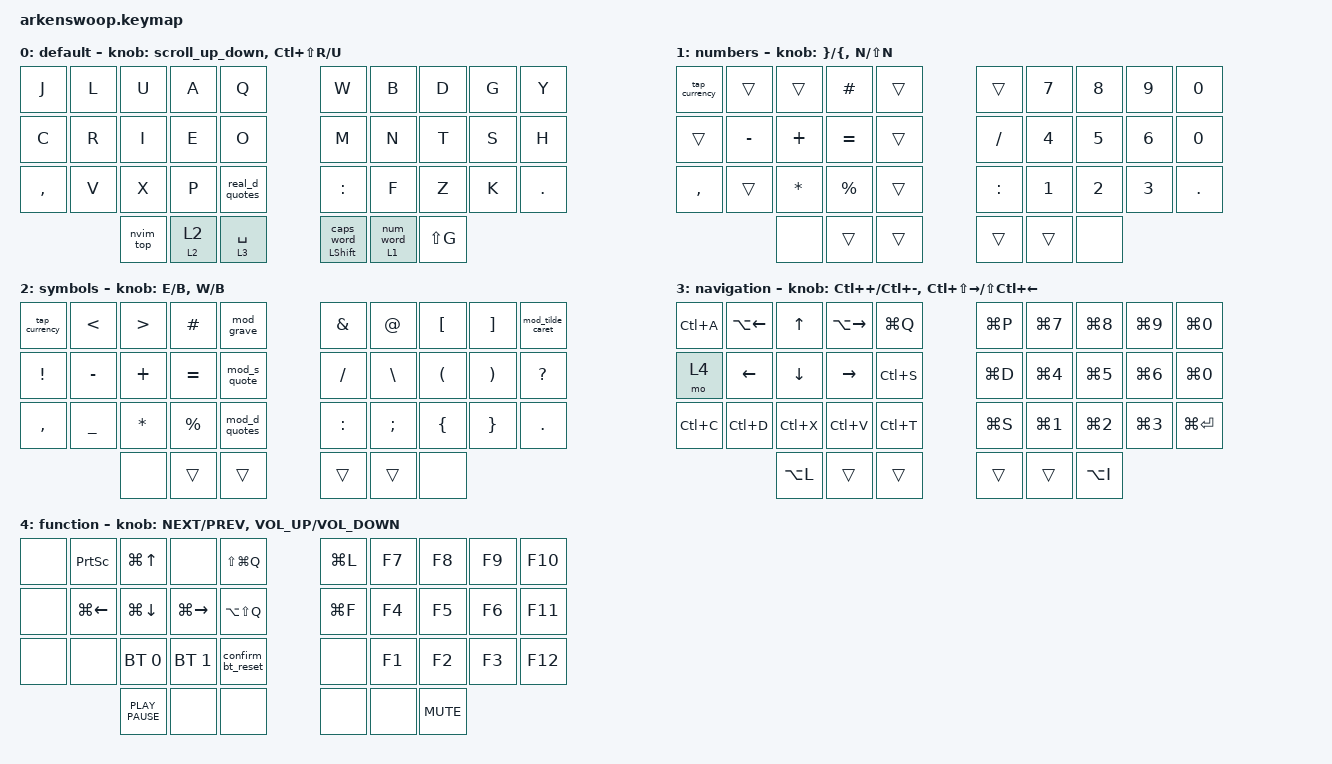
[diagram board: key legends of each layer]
/*
 * Copyright (c) 2020 The ZMK Contributors
 *
 * SPDX-License-Identifier: MIT
 */

#define ZMK_POINTING_DEFAULT_SCRL_VAL 100

#include <behaviors.dtsi>
#include <dt-bindings/zmk/bt.h>
#include <dt-bindings/zmk/keys.h>
#include <dt-bindings/zmk/pointing.h>

&msc {
    time-to-max-speed-ms = <50>;
    acceleration-exponent = <2>;
};

/ {
    behaviors {
        scroll_up_down: encoder_scroll {
            compatible = "zmk,behavior-sensor-rotate";
            #sensor-binding-cells = <0>;
            tap-ms = <70>;
            bindings = <&msc SCRL_DOWN>, <&msc SCRL_UP>;
        };

        num_word: behavior_num_word {
            compatible = "zmk,behavior-caps-word";
            #binding-cells = <0>;
            continue-list = <TAB BACKSPACE DELETE DOT COMMA LPAR RPAR STAR PLUS MINUS SLASH COLON COMMA PERIOD POUND PERCENT>;
        };

        num_activate: num_activate {
            compatible = "zmk,behavior-hold-tap";
            bindings = <&mo>, <&num_word>;

            #binding-cells = <2>;
            tapping-term-ms = <200>;
            require-prior-idle-ms = <125>;
        };

        tap_currency: tap_currency {
            compatible = "zmk,behavior-tap-dance";
            #binding-cells = <0>;
            bindings = <&kp DOLLAR>, <&kp RA(NUMBER_5)>;
        };

        confirm_bt_reset: confirm_bt_reset {
            compatible = "zmk,behavior-tap-dance";
            #binding-cells = <0>;
            bindings = <&none>, <&none>, <&none>, <&none>, <&bt BT_CLR_ALL>;
        };

        mod_d_quotes: mod_d_quotes {
            compatible = "zmk,behavior-mod-morph";
            bindings = <&real_d_quotes>, <&kp DOUBLE_QUOTES>;

            #binding-cells = <0>;
            mods = <(MOD_LALT)>;
        };

        mod_s_quote: mod_s_quote {
            compatible = "zmk,behavior-mod-morph";
            bindings = <&real_s_quote>, <&kp SINGLE_QUOTE>;

            #binding-cells = <0>;
            mods = <(MOD_LALT)>;
        };

        mod_grave: mod_grave {
            compatible = "zmk,behavior-mod-morph";
            bindings = <&real_grave>, <&kp GRAVE>;

            #binding-cells = <0>;
            mods = <(MOD_LALT)>;
        };

        mod_caret: mod_caret {
            compatible = "zmk,behavior-mod-morph";
            bindings = <&real_caret>, <&kp CARET>;

            #binding-cells = <0>;
            mods = <(MOD_LALT)>;
        };

        mod_tilde: mod_tilde {
            compatible = "zmk,behavior-mod-morph";
            bindings = <&real_tilde>, <&kp TILDE>;

            #binding-cells = <0>;
            mods = <(MOD_LALT)>;
        };

        nav_activate: nav_activate {
            compatible = "zmk,behavior-hold-tap";
            bindings = <&mo>, <&kp>;

            #binding-cells = <2>;
            tapping-term-ms = <200>;
        };

        shift_activate: shift_activate {
            compatible = "zmk,behavior-hold-tap";
            bindings = <&kp>, <&caps_word>;

            #binding-cells = <2>;
            tapping-term-ms = <200>;
        };

        symbol_activate: symbol_activate {
            compatible = "zmk,behavior-hold-tap";
            bindings = <&mo>, <&sl>;

            #binding-cells = <2>;
            tapping-term-ms = <200>;
        };

        mod_tilde_caret: mod_tilde_caret {
            compatible = "zmk,behavior-mod-morph";
            bindings = <&mod_tilde>, <&mod_caret>;

            #binding-cells = <0>;
            mods = <(MOD_LSFT)>;
        };
    };

    combos {
        compatible = "zmk,combos";

        combo_a {
            bindings = <&umlaut_a>;
            key-positions = <13 3>;
            layers = <0>;
        };

        combo_o {
            bindings = <&umlaut_o>;
            key-positions = <13 14>;
            layers = <0>;
        };

        combo_u {
            bindings = <&umlaut_u>;
            key-positions = <13 2>;
            layers = <0>;
        };

        combo_s {
            bindings = <&umlaut_s>;
            key-positions = <13 18>;
            layers = <0>;
        };

        combo_ctrl_left {
            bindings = <&kp LCTRL>;
            key-positions = <13 23>;
            layers = <0 1 2 4 3>;
        };

        combo_ctrl_right {
            bindings = <&kp LCTRL>;
            key-positions = <16 26>;
            layers = <0 1 2 4 3>;
        };

        combo_alt_left {
            bindings = <&kp LALT>;
            key-positions = <12 22>;
            layers = <0 1 2 4 3>;
        };

        combo_alt_right {
            bindings = <&kp LALT>;
            key-positions = <17 27>;
            layers = <0 1 2 4 3>;
        };

        combo_meta_left {
            bindings = <&kp LMETA>;
            key-positions = <11 21>;
            layers = <0 1 2 4 3>;
        };

        combo_meta_right {
            bindings = <&kp LMETA>;
            key-positions = <18 28>;
            layers = <0 1 2 4 3>;
        };

        combo_enter {
            bindings = <&kp ENTER>;
            key-positions = <6 7 8>;
            timeout-ms = <85>;
            layers = <0 1 2 3 4>;
        };

        combo_tab {
            bindings = <&kp TAB>;
            key-positions = <1 2 3>;
            layers = <0 1 2 4>;
            timeout-ms = <85>;
        };

        combo_escape {
            bindings = <&kp ESCAPE>;
            key-positions = <0 1>;
            timeout-ms = <85>;
            layers = <0 1 2 3 4>;
        };

        combo_backspace {
            bindings = <&kp BACKSPACE>;
            key-positions = <16 17 18>;
            timeout-ms = <150>;
            layers = <0 1 2 4 3>;
        };

        combo_delete {
            bindings = <&kp DELETE>;
            key-positions = <21 22 23>;
            timeout-ms = <150>;
            layers = <0 1 2 4 3>;
        };

        combo_questionmark {
            bindings = <&kp QUESTION>;
            key-positions = <19 9>;
            layers = <0>;
        };

        combo_exclamationmark {
            bindings = <&kp EXCLAMATION>;
            key-positions = <0 10>;
            layers = <0>;
        };

        combo_colon {
            bindings = <&kp SLASH>;
            key-positions = <5 15>;
            layers = <0>;
        };

        combo_s_quote {
            bindings = <&real_s_quote>;
            key-positions = <14 24>;
            layers = <0>;
        };

        combo_paren_left {
            bindings = <&kp LEFT_PARENTHESIS>;
            key-positions = <20 21 22>;
            layers = <0 1 2>;
            timeout-ms = <85>;
        };

        combo_paren_right {
            bindings = <&kp RIGHT_PARENTHESIS>;
            key-positions = <27 28 29>;
            layers = <0 1 2>;
            timeout-ms = <85>;
        };

        combo_pipe {
            bindings = <&kp PIPE>;
            key-positions = <15 16>;
            layers = <2>;
        };

        combo_shift_tab {
            bindings = <&kp LS(TAB)>;
            key-positions = <1 2 3>;
            timeout-ms = <85>;
            layers = <3>;
        };

        combo_questionmark_bottom {
            bindings = <&kp QUESTION>;
            key-positions = <19 29>;
            layers = <0>;
        };

        combo_exclamationmark_bottom {
            bindings = <&kp EXCLAMATION>;
            key-positions = <10 20>;
            layers = <0>;
        };

        combo_grave {
            bindings = <&real_grave>;
            key-positions = <14 4>;
            layers = <0>;
        };
    };

    macros {
        umlaut_a: umlaut_a {
            compatible = "zmk,behavior-macro";
            #binding-cells = <0>;
            bindings = <&kp DQT &kp A>;
        };

        umlaut_o: umlaut_o {
            compatible = "zmk,behavior-macro";
            #binding-cells = <0>;
            bindings = <&kp DQT &kp O>;
        };

        umlaut_u: umlaut_u {
            compatible = "zmk,behavior-macro";
            #binding-cells = <0>;
            bindings = <&kp DQT &kp U>;
        };

        umlaut_s: umlaut_s {
            compatible = "zmk,behavior-macro";
            #binding-cells = <0>;
            bindings = <&kp RIGHT_ALT &kp RA(S)>;
        };

        real_d_quotes: real_d_quotes {
            compatible = "zmk,behavior-macro";
            #binding-cells = <0>;
            bindings = <&kp DQT &kp SPACE>;
        };

        real_s_quote: real_s_quote {
            compatible = "zmk,behavior-macro";
            #binding-cells = <0>;
            bindings = <&kp SQT &kp SPACE>;
        };

        real_grave: real_grave {
            compatible = "zmk,behavior-macro";
            #binding-cells = <0>;
            bindings = <&kp GRAVE &kp SPACE>;
        };

        real_caret: real_caret {
            compatible = "zmk,behavior-macro";
            #binding-cells = <0>;
            bindings = <&kp CARET &kp SPACE>;
        };

        real_tilde: real_tilde {
            compatible = "zmk,behavior-macro";
            #binding-cells = <0>;
            bindings = <&kp TILDE &kp SPACE>;
        };

        nvim_top: nvim_top {
            compatible = "zmk,behavior-macro";
            #binding-cells = <0>;
            bindings = <&kp NUMBER_1 &kp LS(G)>;
        };
    };

    keymap {
        compatible = "zmk,keymap";

        default {
            bindings = <
&kp J      &kp L  &kp U      &kp A                 &kp Q                  &kp W                     &kp B              &kp D      &kp G  &kp Y
&kp C      &kp R  &kp I      &kp E                 &kp O                  &kp M                     &kp N              &kp T      &kp S  &kp H
&kp COMMA  &kp V  &kp X      &kp P                 &real_d_quotes         &kp COLON                 &kp F              &kp Z      &kp K  &kp PERIOD
                  &nvim_top  &symbol_activate 2 2  &nav_activate 3 SPACE  &shift_activate LSHIFT 0  &num_activate 1 0  &kp LS(G)
            >;

            sensor-bindings = <&scroll_up_down>, <&inc_dec_kp LC(LS(R)) U>;
        };

        numbers {
            bindings = <
&tap_currency  &trans     &trans        &kp POUND    &trans  &trans     &kp N7  &kp N8  &kp N9  &kp N0
&trans         &kp MINUS  &kp PLUS      &kp EQUAL    &trans  &kp SLASH  &kp N4  &kp N5  &kp N6  &kp NUMBER_0
&kp COMMA      &trans     &kp ASTERISK  &kp PERCENT  &trans  &kp COLON  &kp N1  &kp N2  &kp N3  &kp PERIOD
                          &none         &trans       &trans  &trans     &trans  &none
            >;

            sensor-bindings =
                <&inc_dec_kp RIGHT_BRACE LEFT_BRACE>,
                <&inc_dec_kp N LS(N)>;
        };

        symbols {
            bindings = <
&tap_currency  &kp LESS_THAN  &kp GREATER_THAN  &kp POUND    &mod_grave     &kp AMPERSAND  &kp AT         &kp LEFT_BRACKET      &kp RIGHT_BRACKET      &mod_tilde_caret
&kp EXCL       &kp MINUS      &kp PLUS          &kp EQUAL    &mod_s_quote   &kp SLASH      &kp BACKSLASH  &kp LEFT_PARENTHESIS  &kp RIGHT_PARENTHESIS  &kp QUESTION
&kp COMMA      &kp UNDER      &kp ASTERISK      &kp PERCENT  &mod_d_quotes  &kp COLON      &kp SEMICOLON  &kp LEFT_BRACE        &kp RIGHT_BRACE        &kp PERIOD
                              &none             &trans       &trans         &trans         &trans         &none
            >;

            sensor-bindings = <&inc_dec_kp E B>, <&inc_dec_kp W B>;
        };

        navigation {
            bindings = <
&kp LC(A)  &kp LA(LEFT)  &kp UP     &kp LA(RIGHT)  &kp LG(Q)  &kp LG(P)  &kp LG(N7)  &kp LG(N8)  &kp LG(N9)  &kp LG(N0)
&mo 4      &kp LEFT      &kp DOWN   &kp RIGHT      &kp LC(S)  &kp LG(D)  &kp LG(N4)  &kp LG(N5)  &kp LG(N6)  &kp LG(N0)
&kp LC(C)  &kp LC(D)     &kp LC(X)  &kp LC(V)      &kp LC(T)  &kp LG(S)  &kp LG(N1)  &kp LG(N2)  &kp LG(N3)  &kp LG(ENTER)
                         &kp LA(L)  &trans         &trans     &trans     &trans      &kp LA(I)
            >;

            sensor-bindings =
                <&inc_dec_kp LC(PLUS) LC(MINUS)>,
                <&inc_dec_kp LC(LS(RIGHT)) LS(LC(LEFT_ARROW))>;
        };

        function {
            bindings = <
&none  &kp PRINTSCREEN  &kp LG(UP)        &none          &kp LS(LG(Q))      &kp LG(L)  &kp F7  &kp F8      &kp F9  &kp F10
&none  &kp LG(LEFT)     &kp LG(DOWN)      &kp LG(RIGHT)  &kp LA(LS(Q))      &kp LG(F)  &kp F4  &kp F5      &kp F6  &kp F11
&none  &none            &bt BT_SEL 0      &bt BT_SEL 1   &confirm_bt_reset  &none      &kp F1  &kp F2      &kp F3  &kp F12
                        &kp K_PLAY_PAUSE  &none          &none              &none      &none   &kp K_MUTE
            >;

            sensor-bindings =
                <&inc_dec_kp K_NEXT K_PREV>,
                <&inc_dec_kp K_VOLUME_UP K_VOLUME_DOWN>;
        };
    };
};
